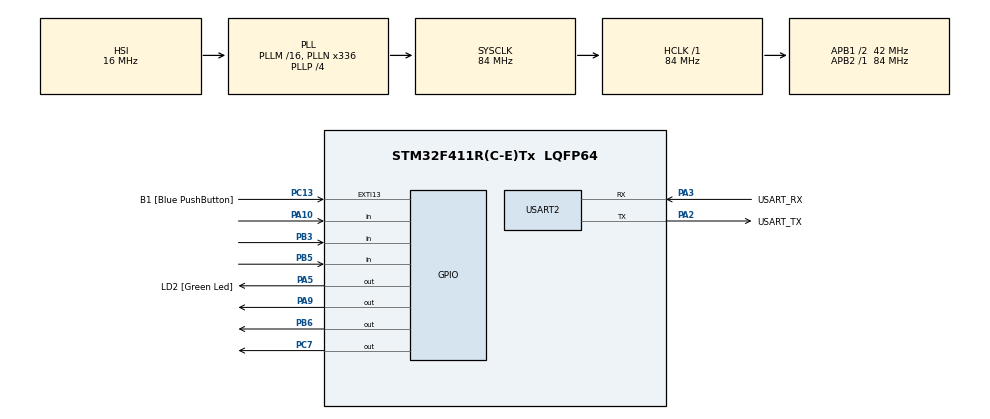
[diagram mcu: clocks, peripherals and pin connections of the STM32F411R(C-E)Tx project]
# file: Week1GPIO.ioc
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Mcu.Family=STM32F4
PC15-OSC32_OUT.Mode=LSE-External-Oscillator
RCC.CortexFreq_Value=84000000
PC13-ANTI_TAMP.GPIO_Label=B1 [Blue PushButton]
PA14.GPIO_Label=TCK
PH1\ -\ OSC_OUT.Mode=HSE-External-Clock-Source
RCC.APB1CLKDivider=RCC_HCLK_DIV2
PC14-OSC32_IN.Signal=RCC_OSC32_IN
RCC.SYSCLKSource=RCC_SYSCLKSOURCE_PLLCLK
ProjectManager.StackSize=0x400
PA13.Signal=SYS_JTMS-SWDIO
PA3.Mode=Asynchronous
PH0\ -\ OSC_IN.Mode=HSE-External-Clock-Source
PH0\ -\ OSC_IN.Signal=RCC_OSC_IN
ProjectManager.TargetToolchain=STM32CubeIDE
RCC.HCLKFreq_Value=84000000
RCC.APB2TimFreq_Value=84000000
PA9.Signal=GPIO_Output
PB6.Signal=GPIO_Output
PC7.Signal=GPIO_Output
PC15-OSC32_OUT.Signal=RCC_OSC32_OUT
RCC.AHBFreq_Value=84000000
PA5.Signal=GPIO_Output
RCC.HSE_VALUE=8000000
PH1\ -\ OSC_OUT.Signal=RCC_OSC_OUT
board=NUCLEO-F411RE
PC13-ANTI_TAMP.Signal=GPXTI13
RCC.VCOOutputFreq_Value=336000000
RCC.APB2Freq_Value=84000000
PC14-OSC32_IN.Mode=LSE-External-Oscillator
PA14.Mode=Serial_Wire
PA13.Mode=Serial_Wire
Mcu.Name=STM32F411R(C-E)Tx
PA2.Signal=USART2_TX
PA13.GPIO_Label=TMS
RCC.FLatency-AdvancedSettings=FLASH_LATENCY_2
RCC.48MHZClocksFreq_Value=84000000
PB3.Signal=GPIO_Input
RCC.SYSCLKFreq_VALUE=84000000
Mcu.Package=LQFP64
PB5.Signal=GPIO_Input
PA5.GPIO_Label=LD2 [Green Led]
USART2.VirtualMode=VM_ASYNC
PC13-ANTI_TAMP.GPIO_ModeDefaultEXTI=GPIO_MODE_IT_FALLING
PA2.GPIO_Label=USART_TX
PA10.Signal=GPIO_Input
PA14.Signal=SYS_JTCK-SWCLK
ProjectManager.HeapSize=0x200
RCC.HSI_VALUE=16000000
RCC.PLLP=RCC_PLLP_DIV4
NVIC.PriorityGroup=NVIC_PRIORITYGROUP_0
RCC.PLLN=336
RCC.APB1TimFreq_Value=84000000
PA2.Mode=Asynchronous
RCC.APB1Freq_Value=42000000
PA3.GPIO_Label=USART_RX
PA3.Signal=USART2_RX

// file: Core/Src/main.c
/* USER CODE BEGIN Header */
/**
  ******************************************************************************
  * @file           : main.c
  * @brief          : Main program body
  ******************************************************************************
  * @attention
  *
  * <h2><center>&copy; Copyright (c) 2021 STMicroelectronics.
  * All rights reserved.</center></h2>
  *
  * This software component is licensed by ST under BSD 3-Clause license,
  * the "License"; You may not use this file except in compliance with the
  * License. You may obtain a copy of the License at:
  *                        opensource.org/licenses/BSD-3-Clause
  *
  ******************************************************************************
  */
/* USER CODE END Header */
#include "main.h"

UART_HandleTypeDef huart2;

void SystemClock_Config(void);
static void MX_GPIO_Init(void);
static void MX_USART2_UART_Init(void);

int main(void)
{

  /* MCU Configuration--------------------------------------------------------*/

  /* Reset of all peripherals, Initializes the Flash interface and the Systick. */
  HAL_Init();

  /* Configure the system clock */
  SystemClock_Config();

  /* Initialize all configured peripherals */
  MX_GPIO_Init();
  MX_USART2_UART_Init();
  /* USER CODE BEGIN 2 */
  //S1 Variable
  GPIO_PinState SwitchStateS1[2];//NOW,LAST
  uint16_t LED1_HalfPeriod = 1000;//1Hz
  uint32_t TimeStampS1 = 0;
  uint32_t ButtonTimeStampS1 = 0;

  //S2 Variable
  GPIO_PinState SwitchStateS2[2];//NOW,LAST
  uint32_t ButtonTimeStampS2 = 0;

  //S3 Variable
  GPIO_PinState SwitchStateS3[2];//NOW,LAST
  uint32_t ButtonTimeStampS3 = 0;
  uint32_t TimeStampS3 = 0;
  uint16_t LED3_Time = 500;//0.5S
  int LED3Mode = 0;
  /* USER CODE END 2 */

  /* Infinite loop */
  /* USER CODE BEGIN WHILE */

  while (1)
  {
	  SwitchStateS1[0] = HAL_GPIO_ReadPin(GPIOA, GPIO_PIN_10);
	  SwitchStateS2[0] = HAL_GPIO_ReadPin(GPIOB, GPIO_PIN_3);
	  SwitchStateS3[0] = HAL_GPIO_ReadPin(GPIOB, GPIO_PIN_5);
	  //switch pressed S1
	  if(HAL_GetTick() - ButtonTimeStampS1 >= 200) //mS
	  {
		  if(SwitchStateS1[1] == GPIO_PIN_SET && SwitchStateS1[0] == GPIO_PIN_RESET)
		  {
			  ButtonTimeStampS1 = HAL_GetTick();
			  //Change Half Period of LED 1
			  if(LED1_HalfPeriod == 1000)
			  {
				  LED1_HalfPeriod = 500;
			  }
			  else if(LED1_HalfPeriod == 500)
			  {
				  LED1_HalfPeriod = 250;
			  }
			  else if(LED1_HalfPeriod == 250)
			  {
			  	  LED1_HalfPeriod = 166;
			  }
			  else
			  {
				  LED1_HalfPeriod = 1000;
			  }
		  }
	  }
	  SwitchStateS1[1] = SwitchStateS1[0];

	  //switch pressed S2
	  if(HAL_GetTick() - ButtonTimeStampS2 >= 200) //mS
	  {
		  if(SwitchStateS2[1] == GPIO_PIN_SET && SwitchStateS2[0] == GPIO_PIN_RESET)
	  	  {
			  ButtonTimeStampS2 = HAL_GetTick();
			  //Toggle LED 2
			  HAL_GPIO_TogglePin(GPIOC, GPIO_PIN_7);
	  	  }
	  }
	  SwitchStateS2[1] = SwitchStateS2[0];

	  //switch pressed S3
	  if(HAL_GetTick() - ButtonTimeStampS3 >= 200) //mS
	  {
	  	  if(SwitchStateS3[1] == GPIO_PIN_SET && SwitchStateS3[0] == GPIO_PIN_RESET)
	  	  {
	  	  	  ButtonTimeStampS3 = HAL_GetTick();
	  	  	  //Toggle LED 3
	  	  	  if(LED3Mode == 1)
	  	  	  {
	  	  		  LED3Mode = 0;
	  	  	  }
	  	  	  else
	  	  	  {
	  	  		  LED3Mode = 1;
	  	  	  }
	  	  }
	  }
	  SwitchStateS3[1] = SwitchStateS3[0];

    /* USER CODE END WHILE */

    /* USER CODE BEGIN 3 */
	  //Run LED 1
	  if(HAL_GetTick() - TimeStampS1 >= LED1_HalfPeriod)
	  {
		  TimeStampS1 = HAL_GetTick();
		  //Toggle LED 1
		  if(HAL_GPIO_ReadPin(GPIOA, GPIO_PIN_9) == GPIO_PIN_SET)
		  {
			  HAL_GPIO_WritePin(GPIOA, GPIO_PIN_9, GPIO_PIN_RESET);
		  }
		  else
		  {
			  HAL_GPIO_WritePin(GPIOA, GPIO_PIN_9, GPIO_PIN_SET);
		  }
	  }

	  //Run LED 3
	  if(HAL_GetTick() - TimeStampS3 >= LED3_Time)
	  {
	  	  TimeStampS3 = HAL_GetTick();
	  	  //Toggle LED 3
	  	  if(HAL_GPIO_ReadPin(GPIOB, GPIO_PIN_6) == GPIO_PIN_SET)
	  	  {
	  		  if(LED3Mode == 1)
	  		  {
	  			  LED3_Time = 1500;
	  		  }
	  		  else
	  		  {
	  			  LED3_Time = 500;
	  		  }
	  		  HAL_GPIO_WritePin(GPIOB, GPIO_PIN_6, GPIO_PIN_RESET);
	  		  }
	  	 else
	  	 {
	  		 if(LED3Mode == 1)
	  		 {
	  			 LED3_Time = 500;
	  		 }
	  		 else
	  		 {
	  			 LED3_Time = 1500;
	  		 }
	  		 HAL_GPIO_WritePin(GPIOB, GPIO_PIN_6, GPIO_PIN_SET);
	  		 }
	     }
  	}
  /* USER CODE END 3 */
}

void SystemClock_Config(void)
{
  RCC_OscInitTypeDef RCC_OscInitStruct = {0};
  RCC_ClkInitTypeDef RCC_ClkInitStruct = {0};

  /** Configure the main internal regulator output voltage
  */
  __HAL_RCC_PWR_CLK_ENABLE();
  __HAL_PWR_VOLTAGESCALING_CONFIG(PWR_REGULATOR_VOLTAGE_SCALE1);
  /** Initializes the RCC Oscillators according to the specified parameters
  * in the RCC_OscInitTypeDef structure.
  */
  RCC_OscInitStruct.OscillatorType = RCC_OSCILLATORTYPE_HSI;
  RCC_OscInitStruct.HSIState = RCC_HSI_ON;
  RCC_OscInitStruct.HSICalibrationValue = RCC_HSICALIBRATION_DEFAULT;
  RCC_OscInitStruct.PLL.PLLState = RCC_PLL_ON;
  RCC_OscInitStruct.PLL.PLLSource = RCC_PLLSOURCE_HSI;
  RCC_OscInitStruct.PLL.PLLM = 16;
  RCC_OscInitStruct.PLL.PLLN = 336;
  RCC_OscInitStruct.PLL.PLLP = RCC_PLLP_DIV4;
  RCC_OscInitStruct.PLL.PLLQ = 4;
  if (HAL_RCC_OscConfig(&RCC_OscInitStruct) != HAL_OK)
  {
    Error_Handler();
  }
  /** Initializes the CPU, AHB and APB buses clocks
  */
  RCC_ClkInitStruct.ClockType = RCC_CLOCKTYPE_HCLK|RCC_CLOCKTYPE_SYSCLK
                              |RCC_CLOCKTYPE_PCLK1|RCC_CLOCKTYPE_PCLK2;
  RCC_ClkInitStruct.SYSCLKSource = RCC_SYSCLKSOURCE_PLLCLK;
  RCC_ClkInitStruct.AHBCLKDivider = RCC_SYSCLK_DIV1;
  RCC_ClkInitStruct.APB1CLKDivider = RCC_HCLK_DIV2;
  RCC_ClkInitStruct.APB2CLKDivider = RCC_HCLK_DIV1;

  if (HAL_RCC_ClockConfig(&RCC_ClkInitStruct, FLASH_LATENCY_2) != HAL_OK)
  {
    Error_Handler();
  }
}

static void MX_USART2_UART_Init(void)
{

  huart2.Instance = USART2;
  huart2.Init.BaudRate = 115200;
  huart2.Init.WordLength = UART_WORDLENGTH_8B;
  huart2.Init.StopBits = UART_STOPBITS_1;
  huart2.Init.Parity = UART_PARITY_NONE;
  huart2.Init.Mode = UART_MODE_TX_RX;
  huart2.Init.HwFlowCtl = UART_HWCONTROL_NONE;
  huart2.Init.OverSampling = UART_OVERSAMPLING_16;
  if (HAL_UART_Init(&huart2) != HAL_OK)
  {
    Error_Handler();
  }

}

static void MX_GPIO_Init(void)
{
  GPIO_InitTypeDef GPIO_InitStruct = {0};

  /* GPIO Ports Clock Enable */
  __HAL_RCC_GPIOC_CLK_ENABLE();
  __HAL_RCC_GPIOH_CLK_ENABLE();
  __HAL_RCC_GPIOA_CLK_ENABLE();
  __HAL_RCC_GPIOB_CLK_ENABLE();

  /*Configure GPIO pin Output Level */
  HAL_GPIO_WritePin(GPIOA, LD2_Pin|GPIO_PIN_9, GPIO_PIN_RESET);

  /*Configure GPIO pin Output Level */
  HAL_GPIO_WritePin(GPIOC, GPIO_PIN_7, GPIO_PIN_RESET);

  /*Configure GPIO pin Output Level */
  HAL_GPIO_WritePin(GPIOB, GPIO_PIN_6, GPIO_PIN_RESET);

  /*Configure GPIO pin : B1_Pin */
  GPIO_InitStruct.Pin = B1_Pin;
  GPIO_InitStruct.Mode = GPIO_MODE_IT_FALLING;
  GPIO_InitStruct.Pull = GPIO_NOPULL;
  HAL_GPIO_Init(B1_GPIO_Port, &GPIO_InitStruct);

  /*Configure GPIO pins : LD2_Pin PA9 */
  GPIO_InitStruct.Pin = LD2_Pin|GPIO_PIN_9;
  GPIO_InitStruct.Mode = GPIO_MODE_OUTPUT_PP;
  GPIO_InitStruct.Pull = GPIO_NOPULL;
  GPIO_InitStruct.Speed = GPIO_SPEED_FREQ_LOW;
  HAL_GPIO_Init(GPIOA, &GPIO_InitStruct);

  /*Configure GPIO pin : PC7 */
  GPIO_InitStruct.Pin = GPIO_PIN_7;
  GPIO_InitStruct.Mode = GPIO_MODE_OUTPUT_PP;
  GPIO_InitStruct.Pull = GPIO_NOPULL;
  GPIO_InitStruct.Speed = GPIO_SPEED_FREQ_LOW;
  HAL_GPIO_Init(GPIOC, &GPIO_InitStruct);

  /*Configure GPIO pin : PA10 */
  GPIO_InitStruct.Pin = GPIO_PIN_10;
  GPIO_InitStruct.Mode = GPIO_MODE_INPUT;
  GPIO_InitStruct.Pull = GPIO_NOPULL;
  HAL_GPIO_Init(GPIOA, &GPIO_InitStruct);

  /*Configure GPIO pins : PB3 PB5 */
  GPIO_InitStruct.Pin = GPIO_PIN_3|GPIO_PIN_5;
  GPIO_InitStruct.Mode = GPIO_MODE_INPUT;
  GPIO_InitStruct.Pull = GPIO_NOPULL;
  HAL_GPIO_Init(GPIOB, &GPIO_InitStruct);

  /*Configure GPIO pin : PB6 */
  GPIO_InitStruct.Pin = GPIO_PIN_6;
  GPIO_InitStruct.Mode = GPIO_MODE_OUTPUT_PP;
  GPIO_InitStruct.Pull = GPIO_NOPULL;
  GPIO_InitStruct.Speed = GPIO_SPEED_FREQ_LOW;
  HAL_GPIO_Init(GPIOB, &GPIO_InitStruct);

}

void Error_Handler(void)
{
  __disable_irq();
  while (1)
  {
  }
}

/************************ (C) COPYRIGHT STMicroelectronics *****END OF FILE****/
